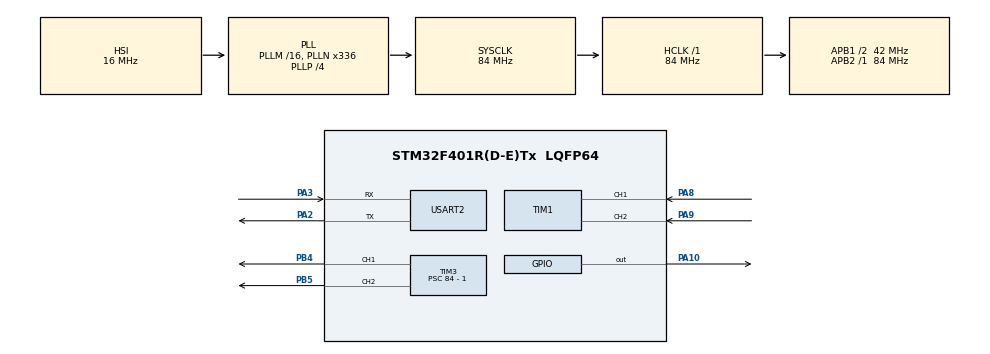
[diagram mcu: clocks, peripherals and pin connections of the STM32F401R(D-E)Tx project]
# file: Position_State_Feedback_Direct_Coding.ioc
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Mcu.Family=STM32F4
Mcu.Name=STM32F401R(D-E)Tx
Mcu.Package=LQFP64
NVIC.PriorityGroup=NVIC_PRIORITYGROUP_4
NVIC.TIM4_IRQn=true\:0\:0\:false\:false\:true\:true\:true\:true
PA10.Signal=GPIO_Output
PA2.Mode=Asynchronous
PA2.Signal=USART2_TX
PA3.Mode=Asynchronous
PA3.Signal=USART2_RX
PA8.Signal=S_TIM1_CH1
PA9.Signal=S_TIM1_CH2
PB4.Signal=S_TIM3_CH1
PB5.Signal=S_TIM3_CH2
ProjectManager.HeapSize=0x200
ProjectManager.StackSize=0x400
ProjectManager.TargetToolchain=STM32CubeIDE
RCC.48MHZClocksFreq_Value=84000000
RCC.AHBFreq_Value=84000000
RCC.APB1CLKDivider=RCC_HCLK_DIV2
RCC.APB1Freq_Value=42000000
RCC.APB1TimFreq_Value=84000000
RCC.APB2Freq_Value=84000000
RCC.APB2TimFreq_Value=84000000
RCC.CortexFreq_Value=84000000
RCC.HCLKFreq_Value=84000000
RCC.HSE_VALUE=25000000
RCC.HSI_VALUE=16000000
RCC.LSE_VALUE=32768
RCC.PLLN=336
RCC.PLLP=RCC_PLLP_DIV4
RCC.SYSCLKFreq_VALUE=84000000
RCC.SYSCLKSource=RCC_SYSCLKSOURCE_PLLCLK
RCC.VCOOutputFreq_Value=336000000
SH.S_TIM1_CH1.0=TIM1_CH1,Encoder_Interface
SH.S_TIM1_CH2.0=TIM1_CH2,Encoder_Interface
SH.S_TIM3_CH1.0=TIM3_CH1,PWM Generation1 CH1
SH.S_TIM3_CH2.0=TIM3_CH2,PWM Generation2 CH2
TIM1.EncoderMode=TIM_ENCODERMODE_TI12
TIM3.AutoReloadPreload=TIM_AUTORELOAD_PRELOAD_ENABLE
TIM3.Channel-PWM\ Generation1\ CH1=TIM_CHANNEL_1
TIM3.Channel-PWM\ Generation2\ CH2=TIM_CHANNEL_2
TIM3.Period=500 - 1
TIM3.Prescaler=84 - 1
TIM4.Period=5000 - 1
TIM4.Prescaler=84 - 1
USART2.VirtualMode=VM_ASYNC
VP_TIM3_VS_ClockSourceINT.Mode=Internal
VP_TIM4_VS_ClockSourceINT.Mode=Internal
board=custom

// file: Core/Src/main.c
/* USER CODE BEGIN Header */
/**
 ******************************************************************************
 * @file           : main.c
 * @brief          : Main program body
 ******************************************************************************
 * @attention
 *
 * <h2><center>&copy; Copyright (c) 2021 STMicroelectronics.
 * All rights reserved.</center></h2>
 *
 * This software component is licensed by ST under BSD 3-Clause license,
 * the "License"; You may not use this file except in compliance with the
 * License. You may obtain a copy of the License at:
 *                        opensource.org/licenses/BSD-3-Clause
 *
 ******************************************************************************
 */
/* USER CODE END Header */
#include "main.h"

/* USER CODE BEGIN Includes */
#include "stdio.h"
#include "stdlib.h"
#include "stdbool.h"
#include "math.h"
#include "string.h"
#include  <errno.h>
#include  <sys/unistd.h> // STDOUT_FILENO, STDERR_FILENO
/* USER CODE END Includes */

/* USER CODE BEGIN PD */
/*
Secondi da attendere tra un cambio di riferimento e l'altro. Tale tempo coincide
anche con il numero di secondi tra un invio USART e l'altro.
*/
#define WAITING 2

// Dimensione del buffer dei riferimenti.
#define REF_DIM 5
/* USER CODE END PD */

TIM_HandleTypeDef htim1;
TIM_HandleTypeDef htim3;
TIM_HandleTypeDef htim4;

UART_HandleTypeDef huart2;

void SystemClock_Config(void);
static void MX_GPIO_Init(void);
static void MX_USART2_UART_Init(void);
static void MX_TIM3_Init(void);
static void MX_TIM1_Init(void);
static void MX_TIM4_Init(void);

/* USER CODE BEGIN 0 */
/* BEGIN CIRCULAR DATA BUFFER */
typedef struct circular_buffer {
	void *buffer;     // Buffer dei dati.
	void *buffer_end; // Fine del buffer dei dati.
	size_t capacity;  // Massimo numero di elementi nel buffer.
	size_t count;     // Numero di elementi nel buffer.
	size_t sz;        // Dimensione di ogni elemento del buffer.
	void *head;       // Puntatore alla testa.
	void *tail;       // Puntatore alla coda.
	bool writing;  	// Segnale che indica se si sta scrivendo o meno nel buffer.
} circular_buffer;

void circularBufferInit(circular_buffer *cb, size_t capacity, size_t sz) {
	cb->buffer = calloc(capacity, sz);
	if (cb->buffer == NULL)
		printf("ALLOCATED NULL\n\r");

	cb->buffer_end = (char*) cb->buffer + capacity * sz;
	cb->capacity = capacity;
	cb->count = 0;
	cb->sz = sz;
	cb->head = cb->buffer;
	cb->tail = cb->buffer;
	cb->writing = false;

}

void circularBufferFree(circular_buffer *cb) {
	free(cb->buffer);
}

void circularBufferPushBack(circular_buffer *cb, const void *item) {
	if (cb->count == cb->capacity) {
		printf("ERROR PUSH BACK \n\r");
	}
	cb->writing = true;
	memmove(cb->head, item, cb->sz);
	cb->head = (char*) cb->head + cb->sz;
	if (cb->head == cb->buffer_end)
		cb->head = cb->buffer;
	cb->count++;
	cb->writing = false;
}

void circularBufferPopFront(circular_buffer *cb, void *item) {
	if (cb->count == 0) {
		printf("ERROR PUSH BACK \n\r");
	}
	memmove(item, cb->tail, cb->sz);
	cb->tail = (char*) cb->tail + cb->sz;
	if (cb->tail == cb->buffer_end)
		cb->tail = cb->buffer;
	while ((cb->writing))
		;
	cb->count--;
}

circular_buffer buffer;

/* BEGIN RECORD TYPEDEF*/
typedef struct record {
	double current_u; // Valore dell'input di controllo attuale.
	double current_y; // Valore dell'uscita del motore attuale.
	double current_r; // Valore del riferimento attuale.
	uint32_t cycle_core_duration; // Tempo necessario per leggere,
								// computare e attuare.
	uint32_t cycle_begin_delay; // Differenza tra il tempo attuale e il tempo
								// atteso di inizio del ciclo.
	uint32_t current_timestamp; // Timestamp corrente in millisecondi.
} record;

/* BEGIN USART WRITE FUNCTION (used by printf)*/
int _write(int file, char *data, int len) {
	if ((file != STDOUT_FILENO) && (file != STDERR_FILENO)) {
		errno = EBADF;
		return -1;
	}

	HAL_StatusTypeDef status = HAL_UART_Transmit(&huart2, (uint8_t*) data, len, 1000);

	return (status == HAL_OK ? len : 0);
}

void setPulseFromDutyValue(double dutyVal) {
	HAL_GPIO_WritePin(GPIOA, GPIO_PIN_10, GPIO_PIN_SET);

	uint16_t channelToModulate;
	uint16_t channelToStop;

	if (dutyVal > 0) {
		channelToModulate = TIM_CHANNEL_1;
		channelToStop = TIM_CHANNEL_2;
	} else {
		channelToModulate = TIM_CHANNEL_2;
		channelToStop = TIM_CHANNEL_1;
	}

	__HAL_TIM_SET_COMPARE(&htim3, channelToStop, 0);
	__HAL_TIM_SET_COMPARE(&htim3, channelToModulate,
			(abs(dutyVal) * ((double )htim3.Init.Period)) / 100);
}

/**
 * @brief Implementa un contatore modulo 89796.
 *
 * @param lastTicks_star Ultimo valore di conteggio.
 * @param ticksDelta Variazione dei ticks dell'encoder.
 *
 * @return Il valore attuale di conteggio.
 **/
double modCounter(double lastTicks_star, double ticksDelta) {
	int sum = (int)(lastTicks_star + ticksDelta);
	return (double)(sum%89796);
}

/**
 * @brief Calcola la posizione del motore a partire dal valore di conteggio del
 * contatore.
 *
 * @param ticksStar Valore di conteggio.
 *
 * @return La posizione relativa attuale del motore.
 **/
double getPosition(double ticksStar) {
	return 2*M_PI*ticksStar/3591.84;
}

/**
 * @brief Calcola la variazione dei ticks generati dall'encoder nell'ultimo
 * intervallo di campionamento.
 *
 * @param current_ticks Conteggio attuale di ticks.
 * @param last_ticks Conteggio passato di ticks.
 * @param Ts Tempo di campionamento.
 *
 * @return Variazione dei ticks.
 **/
double getTicksDelta(double current_ticks, double last_ticks, double Ts) {
	double delta;

	if (abs(current_ticks - last_ticks) <= ceil(8400 * Ts))
		delta = current_ticks - last_ticks;
	else {
		if (last_ticks > current_ticks)
			delta = current_ticks + pow(2, 16) - 1 - last_ticks;
		else
			delta = current_ticks - pow(2, 16) + 1 - last_ticks;
	}
	return delta;
}

double last_ticks = 0;
double current_ticks = 0;
double ticks_star = 0;
double last_ticks_star = 0;
uint32_t tic_control_step;
uint32_t toc_control_step;
uint32_t control_computation_duration;

uint32_t controller_k = -1;
int sampling_prescaler = 2;
int sampling_prescaler_counter = 0;

double Ts = 0.005;

double reference_array[REF_DIM] = {0, -M_PI, M_PI, 2*M_PI, 0};
double reference;

double u = 0;

double **Ad;
double **Bd;
double **Cd;
double **state_kp1;
double **state_k;
double **y_k_expected;
double **L;
double **u_matrix;
double **sum_center;
double **sub_y;
double **sum_top;
double **sum_bottom;

int Ad_rows = 2;
int Ad_columns = 2;
int Bd_rows = 2;
int Bd_columns = 1;
int Cd_rows = 1;
int Cd_columns = 2;
int L_rows = 2;
int L_columns = 1;
int state_rows = 2;
int state_columns = 1;
int y_k_expected_rows = 1;
int y_k_expected_columns = 1;
int u_rows = 1;
int u_columns = 1;

double kp_1 = 29.4478;
double kp_2 = 0.6136;
double ki = 0.5884;
double z = 0;
double z_last = 0;
double error_last = 0;

/**
 * @brief Crea e restituisce una matrice di dimensione nXm.
 *
 * @param n Numero di righe della matrice.
 * @param m Numero di colonne della matrice.
 *
 * @return La matrice creata.
 **/
double** createMatrix(int n, int m) {
	double *values = (double*) calloc(m * n, sizeof(double));
	double **rows = (double**) malloc(n * sizeof(double*));
	for (int i = 0; i < n; ++i) {
		rows[i] = values + i * m;
	}
	return rows;
}

/**
 * @brief Inizializza le matrici del modello e le matrici degli stati attuali e
 * futuri.
 **/
void initMatricies() {

	Ad = createMatrix(Ad_rows, Ad_columns);
	Ad[0][0] = 1.0;
	Ad[0][1] = 0.0046;
	Ad[1][0] = 0.0;
	Ad[1][1] = 0.8259;

	Bd = createMatrix(Bd_rows, Bd_columns);
	Bd[0][0] = 0.0005;
	Bd[1][0] = 0.2049;

	Cd = createMatrix(Cd_rows, Cd_columns);
	Cd[0][0] = 1.0;
	Cd[0][1] = 0.0;

	L = createMatrix(L_rows, L_columns);
	L[0][0] = 0.9902;
	L[1][0] = 0.0001;

	state_kp1 = createMatrix(state_rows, state_columns);
	state_k = createMatrix(state_rows, state_columns);
	y_k_expected = createMatrix(y_k_expected_rows, y_k_expected_columns);

	u_matrix = createMatrix(u_rows, u_columns);
	sum_center = createMatrix(Bd_rows, u_columns);
	sub_y = createMatrix(y_k_expected_rows, y_k_expected_columns);
	sum_top = createMatrix(L_rows, y_k_expected_columns);
	sum_bottom = createMatrix(Ad_rows, state_columns);
}

/**
 * @brief Effettua la moltiplicazione righe per colonne tra due matrici.
 *
 * @param m1 La prima matrice.
 * @param m2 La seconda matrice.
 * @param m1_rows Numero di righe della prima matrice.
 * @param m1_columns Numero di righe della prima matrice.
 * @param m2_rows Numero di righe della seconda matrice.
 * @param m2_columns Numero di righe della seconda matrice.
 * @param m3 La matrice che conterra' il prodotto.
 **/
void multiplyMatricies(double **m1, double **m2, int m1_rows, int m1_columns,
		int m2_rows, int m2_columns, double **m3) {

	for (int i = 0; i < m1_rows; i++) {
		for (int j = 0; j < m2_columns; j++) {
			m3[i][j] = 0;
			for (int k = 0; k < m2_rows; k++) {
				m3[i][j] += m1[i][k] * m2[k][j];
			}
		}
	}
}

/**
 * @brief Setta tutti gli elementi di una matrice a zero.
 *
 * @param arr Matrice da azzerare.
 * @param n Numero di righe della matrice.
 * @param m Numero di colonne della matrice.
 *
 **/
void resetArray(double **arr, int n, int m) {

	for (int i = 0; i < n; i++) {
	  for( int j = 0; j < m; j++){
		  arr[i][j] = 0;
	  }
	}
}

/**
 * @brief Effettua la somma tra due matrici. Il risultato sara' contenuto nella
 * prima.
 *
 * @param m1 La prima matrice.
 * @param m2 La seconda matrice.
 * @param rows Numero di righe delle matrici.
 * @param columns Numero di righe delle matrici.
 **/
void sumMatricies(double **m1, double **m2, double rows, double columns) {

	for (int i = 0; i < rows; i++) {
		for (int j = 0; j < columns; j++) {
			m1[i][j] = m1[i][j] + m2[i][j];
		}
	}
}

/* USER CODE END 0 */

int main(void) {
	/* MCU Configuration--------------------------------------------------------*/

	initMatricies();
	/* Reset of all peripherals, Initializes the Flash interface and the Systick. */
	HAL_Init();

	/* USER CODE BEGIN Init */
	size_t buffer_size = (size_t) ceil(2 * WAITING / (Ts * sampling_prescaler));
	circularBufferInit(&buffer, buffer_size, sizeof(record));

	/* USER CODE END Init */

	/* Configure the system clock */
	SystemClock_Config();

	/* Initialize all configured peripherals */
	MX_GPIO_Init();
	MX_USART2_UART_Init();
	MX_TIM3_Init();
	MX_TIM1_Init();
	MX_TIM4_Init();
	/* USER CODE BEGIN 2 */
	HAL_TIM_PWM_Start(&htim3, TIM_CHANNEL_1);
	HAL_TIM_PWM_Start(&htim3, TIM_CHANNEL_2);
	HAL_TIM_Base_Start(&htim1);
	HAL_TIM_Base_Start_IT(&htim4);
	/* USER CODE END 2 */

	/* Infinite loop */
	/* USER CODE BEGIN WHILE */

	int reference_index = 0;
	reference = reference_array[reference_index];

	printf("INIT\n\r");

	while (1) {
		// Numero di campioni non ancora letti
		size_t n_entries_to_send = buffer.count;
		record retrieved;

		for (size_t count = 0; count < n_entries_to_send; count++) {
			// Prende le entry dal buffer
			circularBufferPopFront(&buffer, &retrieved);
			printf("%lu, %f, %f, %f, %lu\n\r", retrieved.current_timestamp,
					retrieved.current_u, retrieved.current_y, retrieved.current_r,
					retrieved.cycle_core_duration);
		}

		// Cambio del riferimento
		reference = reference_array[reference_index];
		reference_index = (reference_index + 1)%REF_DIM;
		HAL_Delay(WAITING * 1000);

		/* USER CODE END WHILE */

	}
}

void SystemClock_Config(void) {
	RCC_OscInitTypeDef RCC_OscInitStruct = { 0 };
	RCC_ClkInitTypeDef RCC_ClkInitStruct = { 0 };

	/** Configure the main internal regulator output voltage
	 */
	__HAL_RCC_PWR_CLK_ENABLE();
	__HAL_PWR_VOLTAGESCALING_CONFIG(PWR_REGULATOR_VOLTAGE_SCALE2);
	/** Initializes the RCC Oscillators according to the specified parameters
	 * in the RCC_OscInitTypeDef structure.
	 */
	RCC_OscInitStruct.OscillatorType = RCC_OSCILLATORTYPE_HSI;
	RCC_OscInitStruct.HSIState = RCC_HSI_ON;
	RCC_OscInitStruct.HSICalibrationValue = RCC_HSICALIBRATION_DEFAULT;
	RCC_OscInitStruct.PLL.PLLState = RCC_PLL_ON;
	RCC_OscInitStruct.PLL.PLLSource = RCC_PLLSOURCE_HSI;
	RCC_OscInitStruct.PLL.PLLM = 16;
	RCC_OscInitStruct.PLL.PLLN = 336;
	RCC_OscInitStruct.PLL.PLLP = RCC_PLLP_DIV4;
	RCC_OscInitStruct.PLL.PLLQ = 4;
	if (HAL_RCC_OscConfig(&RCC_OscInitStruct) != HAL_OK) {
		Error_Handler();
	}
	/** Initializes the CPU, AHB and APB buses clocks
	 */
	RCC_ClkInitStruct.ClockType = RCC_CLOCKTYPE_HCLK | RCC_CLOCKTYPE_SYSCLK
			| RCC_CLOCKTYPE_PCLK1 | RCC_CLOCKTYPE_PCLK2;
	RCC_ClkInitStruct.SYSCLKSource = RCC_SYSCLKSOURCE_PLLCLK;
	RCC_ClkInitStruct.AHBCLKDivider = RCC_SYSCLK_DIV1;
	RCC_ClkInitStruct.APB1CLKDivider = RCC_HCLK_DIV2;
	RCC_ClkInitStruct.APB2CLKDivider = RCC_HCLK_DIV1;

	if (HAL_RCC_ClockConfig(&RCC_ClkInitStruct, FLASH_LATENCY_2) != HAL_OK) {
		Error_Handler();
	}
}

static void MX_TIM1_Init(void) {

	TIM_Encoder_InitTypeDef sConfig = { 0 };
	TIM_MasterConfigTypeDef sMasterConfig = { 0 };

	htim1.Instance = TIM1;
	htim1.Init.Prescaler = 0;
	htim1.Init.CounterMode = TIM_COUNTERMODE_UP;
	htim1.Init.Period = 65535;
	htim1.Init.ClockDivision = TIM_CLOCKDIVISION_DIV1;
	htim1.Init.RepetitionCounter = 0;
	htim1.Init.AutoReloadPreload = TIM_AUTORELOAD_PRELOAD_DISABLE;
	sConfig.EncoderMode = TIM_ENCODERMODE_TI12;
	sConfig.IC1Polarity = TIM_ICPOLARITY_RISING;
	sConfig.IC1Selection = TIM_ICSELECTION_DIRECTTI;
	sConfig.IC1Prescaler = TIM_ICPSC_DIV1;
	sConfig.IC1Filter = 0;
	sConfig.IC2Polarity = TIM_ICPOLARITY_RISING;
	sConfig.IC2Selection = TIM_ICSELECTION_DIRECTTI;
	sConfig.IC2Prescaler = TIM_ICPSC_DIV1;
	sConfig.IC2Filter = 0;
	if (HAL_TIM_Encoder_Init(&htim1, &sConfig) != HAL_OK) {
		Error_Handler();
	}
	sMasterConfig.MasterOutputTrigger = TIM_TRGO_RESET;
	sMasterConfig.MasterSlaveMode = TIM_MASTERSLAVEMODE_DISABLE;
	if (HAL_TIMEx_MasterConfigSynchronization(&htim1, &sMasterConfig)
			!= HAL_OK) {
		Error_Handler();
	}

}

static void MX_TIM3_Init(void) {

	TIM_ClockConfigTypeDef sClockSourceConfig = { 0 };
	TIM_MasterConfigTypeDef sMasterConfig = { 0 };
	TIM_OC_InitTypeDef sConfigOC = { 0 };

	htim3.Instance = TIM3;
	htim3.Init.Prescaler = 84 - 1;
	htim3.Init.CounterMode = TIM_COUNTERMODE_UP;
	htim3.Init.Period = 500 - 1;
	htim3.Init.ClockDivision = TIM_CLOCKDIVISION_DIV1;
	htim3.Init.AutoReloadPreload = TIM_AUTORELOAD_PRELOAD_ENABLE;
	if (HAL_TIM_Base_Init(&htim3) != HAL_OK) {
		Error_Handler();
	}
	sClockSourceConfig.ClockSource = TIM_CLOCKSOURCE_INTERNAL;
	if (HAL_TIM_ConfigClockSource(&htim3, &sClockSourceConfig) != HAL_OK) {
		Error_Handler();
	}
	if (HAL_TIM_PWM_Init(&htim3) != HAL_OK) {
		Error_Handler();
	}
	sMasterConfig.MasterOutputTrigger = TIM_TRGO_RESET;
	sMasterConfig.MasterSlaveMode = TIM_MASTERSLAVEMODE_DISABLE;
	if (HAL_TIMEx_MasterConfigSynchronization(&htim3, &sMasterConfig)
			!= HAL_OK) {
		Error_Handler();
	}
	sConfigOC.OCMode = TIM_OCMODE_PWM1;
	sConfigOC.Pulse = 0;
	sConfigOC.OCPolarity = TIM_OCPOLARITY_HIGH;
	sConfigOC.OCFastMode = TIM_OCFAST_DISABLE;
	if (HAL_TIM_PWM_ConfigChannel(&htim3, &sConfigOC, TIM_CHANNEL_1)
			!= HAL_OK) {
		Error_Handler();
	}
	if (HAL_TIM_PWM_ConfigChannel(&htim3, &sConfigOC, TIM_CHANNEL_2)
			!= HAL_OK) {
		Error_Handler();
	}
	HAL_TIM_MspPostInit(&htim3);

}

static void MX_TIM4_Init(void) {

	TIM_ClockConfigTypeDef sClockSourceConfig = { 0 };
	TIM_MasterConfigTypeDef sMasterConfig = { 0 };

	htim4.Instance = TIM4;
	htim4.Init.Prescaler = 84 - 1;
	htim4.Init.CounterMode = TIM_COUNTERMODE_UP;
	htim4.Init.Period = 5000 - 1;
	htim4.Init.ClockDivision = TIM_CLOCKDIVISION_DIV1;
	htim4.Init.AutoReloadPreload = TIM_AUTORELOAD_PRELOAD_DISABLE;
	if (HAL_TIM_Base_Init(&htim4) != HAL_OK) {
		Error_Handler();
	}
	sClockSourceConfig.ClockSource = TIM_CLOCKSOURCE_INTERNAL;
	if (HAL_TIM_ConfigClockSource(&htim4, &sClockSourceConfig) != HAL_OK) {
		Error_Handler();
	}
	sMasterConfig.MasterOutputTrigger = TIM_TRGO_RESET;
	sMasterConfig.MasterSlaveMode = TIM_MASTERSLAVEMODE_DISABLE;
	if (HAL_TIMEx_MasterConfigSynchronization(&htim4, &sMasterConfig)
			!= HAL_OK) {
		Error_Handler();
	}

}

static void MX_USART2_UART_Init(void) {

	huart2.Instance = USART2;
	huart2.Init.BaudRate = 115200;
	huart2.Init.WordLength = UART_WORDLENGTH_8B;
	huart2.Init.StopBits = UART_STOPBITS_1;
	huart2.Init.Parity = UART_PARITY_NONE;
	huart2.Init.Mode = UART_MODE_TX_RX;
	huart2.Init.HwFlowCtl = UART_HWCONTROL_NONE;
	huart2.Init.OverSampling = UART_OVERSAMPLING_16;
	if (HAL_UART_Init(&huart2) != HAL_OK) {
		Error_Handler();
	}

}

static void MX_GPIO_Init(void) {
	GPIO_InitTypeDef GPIO_InitStruct = { 0 };

	/* GPIO Ports Clock Enable */
	__HAL_RCC_GPIOA_CLK_ENABLE();
	__HAL_RCC_GPIOB_CLK_ENABLE();

	/*Configure GPIO pin Output Level */
	HAL_GPIO_WritePin(GPIOA, GPIO_PIN_10, GPIO_PIN_RESET);

	/*Configure GPIO pin : PA10 */
	GPIO_InitStruct.Pin = GPIO_PIN_10;
	GPIO_InitStruct.Mode = GPIO_MODE_OUTPUT_PP;
	GPIO_InitStruct.Pull = GPIO_NOPULL;
	GPIO_InitStruct.Speed = GPIO_SPEED_FREQ_LOW;
	HAL_GPIO_Init(GPIOA, &GPIO_InitStruct);

}

/**
 * @brief Implementa l'osservatore di Luenberger.
 *
 * @param u_last Valore dell'ingresso di controllo attuale.
 * @param y Valore attuale dell'uscita del sistema.
 **/
void luenbergerObserver(double u_last, double y) {

	// Assegna lo stato futuro computato precedentemente allo stato attuale e
	// azzera il futuro.
	for(int i=0; i < state_rows; i++){
		for(int j =0; j < state_columns; j++){
			state_k[i][j] = state_kp1[i][j];
			state_kp1[i][j] = 0;
		}
	}

	u_matrix[0][0] = u_last;

	// Moltiplicazione tra la matrice B e l'ingresso di controllo.
	multiplyMatricies(Bd, u_matrix, Bd_rows, Bd_columns, 1, 1, sum_center);

	// Moltiplicazione tra lo stato stimato e la matrice C.
	multiplyMatricies(Cd, state_k, Cd_rows, Cd_columns, state_rows, state_columns, y_k_expected);

	// Calcolo errore tra uscita stimata e uscita effettiva.
	sub_y[0][0] = y - y_k_expected[0][0];

	// Moltiplicazione dell'errore tra uscita stimata e uscita effettiva e la matrice L.
	multiplyMatricies(L, sub_y, L_rows, L_columns, y_k_expected_rows, y_k_expected_columns, sum_top);

	// Moltiplicazione tra stato stimato e matrice A.
	multiplyMatricies(Ad, state_k, Ad_rows, Ad_columns, state_rows, state_columns, sum_bottom);

	// Somma di tutti i contributi.
	sumMatricies(state_kp1, sum_top, L_rows, y_k_expected_columns);
	sumMatricies(state_kp1, sum_center, L_rows, y_k_expected_columns);
	sumMatricies(state_kp1, sum_bottom, L_rows, y_k_expected_columns);

	resetArray(sub_y, y_k_expected_rows, y_k_expected_columns);
	resetArray(sum_top, L_rows, y_k_expected_columns);
	resetArray(sum_center, L_rows, y_k_expected_columns);
	resetArray(sum_bottom, L_rows, y_k_expected_columns);
}

/* USER CODE BEGIN 4 */
void HAL_TIM_PeriodElapsedCallback(TIM_HandleTypeDef *htim) {

	if (htim == &htim4) {
		controller_k = controller_k + 1;

		if (controller_k == 0) {
			tic_control_step = HAL_GetTick();
		}

		toc_control_step = HAL_GetTick();

		// Prende il valore attuale dei tick contando i fronti dell'encoder.
		current_ticks = (double) __HAL_TIM_GET_COUNTER(&htim1);

		// Calcola il valore attuale di conteggio.
		ticks_star = modCounter(last_ticks_star, getTicksDelta(current_ticks, last_ticks, Ts));

		// Calcola la posizione attuale del motore
		double position = getPosition(ticks_star);

		//Stima dello stato con l'osservatore di Luenberger.
		// Dopo tale chiamata lo stato viene aggiornato con la nuova stima.
		luenbergerObserver(u, position);

		//* Retroazione di stato *//
		double error = position - reference;
		z = z_last - ki*error_last;

		double kx = kp_1*state_k[0][0] + kp_2*state_k[1][0];

		double u = z - kx;

		// Attuazione
		setPulseFromDutyValue(u * 100 / 12);

		//* ---------------------- *//

		error_last = error;
		z_last = z;

		control_computation_duration = HAL_GetTick() - toc_control_step;
		last_ticks = current_ticks;
		last_ticks_star = ticks_star;

		record r;
		r.current_u = u;
		r.current_y = position;
		r.current_r = reference;
		r.cycle_core_duration = control_computation_duration;
		r.cycle_begin_delay = toc_control_step - tic_control_step - (controller_k * Ts * 1000);
		r.current_timestamp = HAL_GetTick();

		if (sampling_prescaler_counter == (sampling_prescaler - 1)) {
			circularBufferPushBack(&buffer, &r);
			sampling_prescaler_counter = -1;
		}
		sampling_prescaler_counter++;
	}
}
/* USER CODE END 4 */

void Error_Handler(void) {
	__disable_irq();
	while (1) {
	}
}

/************************ (C) COPYRIGHT STMicroelectronics *****END OF FILE****/
